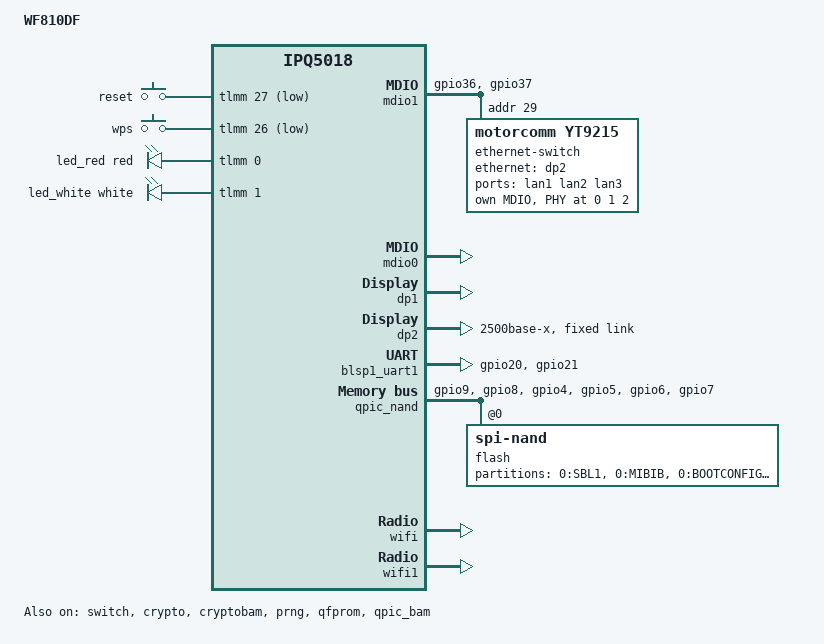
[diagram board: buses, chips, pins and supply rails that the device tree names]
// SPDX-License-Identifier: GPL-2.0-or-later

/dts-v1/;

#include "ipq5018.dtsi"
#include "ipq5018-ess.dtsi"
#include "ipq5018-qcn6122.dtsi"

#include <dt-bindings/gpio/gpio.h>
#include <dt-bindings/input/input.h>
#include <dt-bindings/leds/common.h>
#include <dt-bindings/net/qcom-ipq-ess.h>

/ {
	model = "WF810DF";
	compatible = "fpt,wf810df", "fpt,ax3000cv2", "actiontec,wf810df",
		     "qcom,ipq5018";

	aliases {
		serial0 = &blsp1_uart1;
		label-mac-device = &dp1;

		ethernet0 = &dp1;
		ethernet1 = &dp2;

		led-boot = &led_red;
		led-failsafe = &led_red;
		led-running = &led_white;
		led-upgrade = &led_red;
	};

	chosen {
		bootargs-append = " root=/dev/ubiblock0_1 coherent_pool=2M";
		stdout-path = "serial0:115200n8";
	};

	keys {
		compatible = "gpio-keys";
		pinctrl-0 = <&button_pins>;
		pinctrl-names = "default";

		reset {
			label = "reset";
			gpios = <&tlmm 27 GPIO_ACTIVE_LOW>;
			linux,code = <KEY_RESTART>;
			linux,input-type = <EV_KEY>;
			debounce-interval = <60>;
		};

		wps {
			label = "wps";
			gpios = <&tlmm 26 GPIO_ACTIVE_LOW>;
			linux,code = <KEY_WPS_BUTTON>;
			linux,input-type = <EV_KEY>;
			debounce-interval = <60>;
		};
	};

	leds {
		compatible = "gpio-leds";
		pinctrl-0 = <&leds_pins>;
		pinctrl-names = "default";

		led_red: led-red {
			color = <LED_COLOR_ID_RED>;
			function = LED_FUNCTION_POWER;
			gpios = <&tlmm 0 GPIO_ACTIVE_HIGH>;
		};

		led_white: led-white {
			color = <LED_COLOR_ID_WHITE>;
			function = LED_FUNCTION_STATUS;
			gpios = <&tlmm 1 GPIO_ACTIVE_HIGH>;
		};
	};

};

&mdio1 {
	pinctrl-0 = <&mdio1_pins>;
	pinctrl-names = "default";
	status = "okay";

	ethernet-switch@1d {
		compatible = "motorcomm,yt9215";
		reg = <0x1d>;
		yt,extif = <0x0a>;
		motorcomm,skip-hw-reset;

			mdio {
				#address-cells = <1>;
				#size-cells = <0>;

			sw_phy0: phy@0 {
				reg = <0>;
			};

			sw_phy1: phy@1 {
				reg = <1>;
			};

				sw_phy2: phy@2 {
					reg = <2>;
				};

			};

		ports {
			#address-cells = <1>;
			#size-cells = <0>;

			port@0 {
				reg = <0>;
				label = "lan1";
				phy-mode = "internal";
				phy-handle = <&sw_phy0>;
			};

			port@1 {
				reg = <1>;
				label = "lan2";
				phy-mode = "internal";
				phy-handle = <&sw_phy1>;
			};

				port@2 {
					reg = <2>;
					label = "lan3";
					phy-mode = "internal";
					phy-handle = <&sw_phy2>;
				};

			/* Current upstream yt921x support models the CPU link on port 8. */
			port@8 {
				reg = <8>;
				/* Thu nghiem 2.5G (theo ppptran/michioxd, giong firmware goc):
				 * UNIPHY IPQ5018 o SGMII+ 312.5 MHz <-> SERDES0 YT9215S o
				 * 2500BASE-X (SERDES mode 4). Ban on dinh: "sgmii" 1000.
				 */
				phy-mode = "2500base-x";
				ethernet = <&dp2>;

				fixed-link {
					speed = <2500>;
					full-duplex;
				};
			};
		};
	};
};

&sleep_clk {
	clock-frequency = <32000>;
};

&xo_board_clk {
	clock-div = <4>;
	clock-mult = <1>;
};

&switch {
	status = "okay";

	/* SGMII+ (312.5 MHz) cho duong CPU 2.5G */
	switch_mac_mode = <MAC_MODE_SGMII_PLUS>;
	switch_mac_mode1 = <MAC_MODE_DISABLED>;
	switch_mac_mode2 = <MAC_MODE_DISABLED>;

	switch_cpu_bmp = <ESS_PORT0>;
	switch_wan_bmp = <ESS_PORT1>;
	switch_lan_bmp = <ESS_PORT2>;
	switch_inner_bmp = <ESS_PORT7>;

	/*
	 * Bo uniphy1_ahb_rst: reset AHB xoa MODE_CTRL/PHY_MODE/CH0_INPUT_OUTPUT_4
	 * tren cong CPU ep toc do. Duong SGMII+ cua SSDK (ban va 9001) dung
	 * uniphy1_soft_rst roi ghi lai PHY_MODE de chot che do SGMII+.
	 */
	resets = <&gcc GCC_GMAC0_BCR>,
		 <&gcc GCC_GMAC1_BCR>,
		 <&gcc GCC_UNIPHY_BCR>,
		 <&gcc GCC_UNIPHY_SOFT_RESET>;
	reset-names = "gmac0_bcr_rst",
		      "gmac1_bcr_rst",
		      "uniphy_bcr_rst",
		      "uniphy1_soft_rst";

	qcom,port_phyinfo {
		/* MAC0 -> integrated GE PHY -> WAN */
		port@0 {
			port_id = <1>;
			mdiobus = <&mdio0>;
			phy_address = <7>;
		};

		/* MAC1 -> YT9215 CPU port */
		port@1 {
			port_id = <2>;
			/* 2500 chon clock GMAC1 312.5 MHz ma nguon SGMII+ cap */
			forced-speed = <2500>;
			forced-duplex = <1>;
		};
	};
};

&mdio0 {
	status = "okay";
};

/*
 * Khong dat qcom,dac-preset-short-cable cho &ge_phy: tuy chon nay giam bien do
 * DAC cho PHY noi day ngan voi chip switch tren mach, con o may nay GE PHY
 * ra thang cong WAN RJ45 -> WAN chi len 100 Mbps tren day that.
 */

&dp1 {
	status = "okay";
	label = "wan";

	nvmem-cells = <&macaddr_appsblenv_ethaddr 0>;
	nvmem-cell-names = "mac-address";
};

&dp2 {
	status = "okay";
	label = "lan";

	nvmem-cells = <&macaddr_appsblenv_ethaddr 1>;
	nvmem-cell-names = "mac-address";

	phy-mode = "2500base-x";

	fixed-link {
		speed = <2500>;
		full-duplex;
	};
};

&blsp1_uart1 {
	pinctrl-0 = <&serial_0_pins>;
	pinctrl-names = "default";
	status = "okay";
};

&crypto {
	status = "okay";
};

&cryptobam {
	status = "okay";
};

&prng {
	status = "okay";
};

&qfprom {
	status = "okay";
};

&qpic_bam {
	status = "okay";
};

&qpic_nand {
	pinctrl-0 = <&qpic_pins>;
	pinctrl-names = "default";
	status = "okay";

	flash@0 {
		compatible = "spi-nand";
		reg = <0>;
		#address-cells = <1>;
		#size-cells = <1>;

		nand-ecc-engine = <&qpic_nand>;
		nand-ecc-strength = <8>;
		nand-ecc-step-size = <512>;
		nand-bus-width = <8>;

		partitions {
			compatible = "fixed-partitions";
			#address-cells = <1>;
			#size-cells = <1>;

			partition@0 {
				label = "0:SBL1";
				reg = <0x00000000 0x00080000>;
				read-only;
			};

			partition@80000 {
				label = "0:MIBIB";
				reg = <0x00080000 0x00080000>;
				read-only;
			};

			partition@100000 {
				label = "0:BOOTCONFIG";
				reg = <0x00100000 0x00040000>;
				read-only;
			};

			partition@140000 {
				label = "0:BOOTCONFIG1";
				reg = <0x00140000 0x00040000>;
				read-only;
			};

			partition@180000 {
				label = "0:QSEE";
				reg = <0x00180000 0x00100000>;
				read-only;
			};

			partition@280000 {
				label = "0:QSEE_1";
				reg = <0x00280000 0x00100000>;
				read-only;
			};

			partition@380000 {
				label = "0:DEVCFG";
				reg = <0x00380000 0x00040000>;
				read-only;
			};

			partition@3c0000 {
				label = "0:DEVCFG_1";
				reg = <0x003c0000 0x00040000>;
				read-only;
			};

			partition@400000 {
				label = "0:CDT";
				reg = <0x00400000 0x00040000>;
				read-only;
			};

			partition@440000 {
				label = "0:CDT_1";
				reg = <0x00440000 0x00040000>;
				read-only;
			};

			partition@480000 {
				label = "0:APPSBLENV";
				reg = <0x00480000 0x00080000>;

				nvmem-layout {
					compatible = "u-boot,env";

					macaddr_appsblenv_ethaddr: ethaddr {
						compatible = "mac-base";
						#nvmem-cell-cells = <1>;
					};
				};
			};

			partition@500000 {
				label = "0:APPSBL";
				reg = <0x00500000 0x00140000>;
				read-only;
			};

			partition@640000 {
				label = "0:APPSBL_1";
				reg = <0x00640000 0x00140000>;
				read-only;
			};

			partition@780000 {
				label = "0:ART";
				reg = <0x00780000 0x00100000>;
				read-only;
			};

			partition@880000 {
				label = "0:TRAINING";
				reg = <0x00880000 0x00080000>;
				read-only;
			};

			partition@900000 {
				label = "APPSBLENV_1";
				reg = <0x00900000 0x00080000>;
				read-only;
			};

			partition@980000 {
				label = "ART_1";
				reg = <0x00980000 0x00100000>;
				read-only;
			};

			partition@a80000 {
				label = "TRAINING_1";
				reg = <0x00a80000 0x00080000>;
				read-only;
			};

			partition@b00000 {
				label = "cert";
				reg = <0x00b00000 0x00100000>;
				read-only;
			};

			partition@c00000 {
				label = "cert_1";
				reg = <0x00c00000 0x00100000>;
				read-only;
			};

			partition@d00000 {
				label = "rootfs";
				reg = <0x00d00000 0x0f300000>;
			};
		};
	};
};

&tlmm {
	mdio1_pins: mdio-state {
		mdc-pins {
			pins = "gpio36";
			function = "mdc";
			drive-strength = <8>;
			bias-pull-up;
		};

		mdio-pins {
			pins = "gpio37";
			function = "mdio";
			drive-strength = <8>;
			bias-pull-up;
		};
	};

	leds_pins: leds-pins {
		pins = "gpio0", "gpio1";
		function = "gpio";
		drive-strength = <8>;
		bias-pull-down;
	};

	button_pins: button-pins {
		pins = "gpio27", "gpio26";
		function = "gpio";
		drive-strength = <8>;
		bias-pull-up;
	};

	qpic_pins: qpic-state {
		clock-pins {
			pins = "gpio9";
			function = "qspi_clk";
			drive-strength = <8>;
			bias-disable;
		};

		cs-pins {
			pins = "gpio8";
			function = "qspi_cs";
			drive-strength = <8>;
			bias-disable;
		};

		data-pins {
			pins = "gpio4", "gpio5", "gpio6", "gpio7";
			function = "qspi_data";
			drive-strength = <8>;
			bias-disable;
		};
	};

	serial_0_pins: uart0-state {
		pins = "gpio20", "gpio21";
		function = "blsp0_uart0";
		drive-strength = <8>;
		bias-disable;
	};
};

&q6v5_wcss {
	boot-args = <0x2 4 2 18 0 0>;
};

&wifi {
	status = "okay";

	qcom,rproc = <&q6_wcss_pd1>;
	qcom,userpd-subsys-name = "q6v5_wcss_userpd1";
	qcom,board_id = <0x23>;
	qcom,ath11k-fw-memory-mode = <1>;
	qcom,bdf-addr = <0x4c400000>;
};

&wifi1 {
	status = "okay";

	qcom,rproc = <&q6_wcss_pd2>;
	qcom,userpd-subsys-name = "q6v5_wcss_userpd2";
	qcom,board_id = <0x60>;
	qcom,ath11k-fw-memory-mode = <1>;
	qcom,bdf-addr = <0x4d100000>;
	qcom,m3-dump-addr = <0x4df00000>;
};
